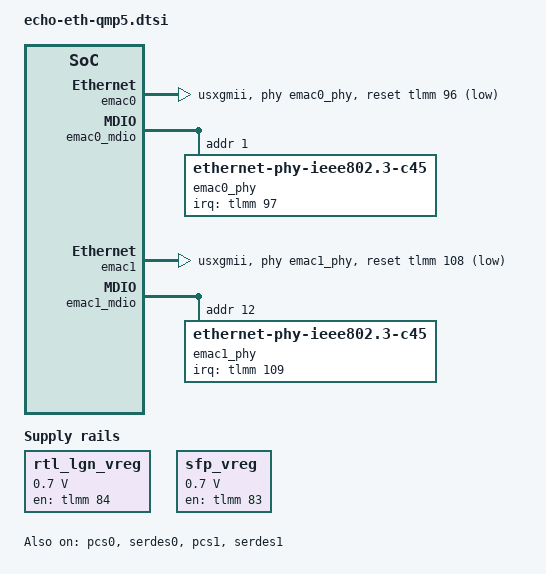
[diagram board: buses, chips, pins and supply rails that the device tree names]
// SPDX-License-Identifier: BSD-3-Clause
/*
 * Copyright (c) Qualcomm Technologies, Inc. and/or its subsidiaries.
 */

&soc {
	rtl_lgn_vreg: rtl_lgn_vreg {
		compatible = "regulator-fixed";
		regulator-name = "rtl_lgn_vreg";
		gpio = <&tlmm 84 GPIO_ACTIVE_HIGH>;
		regulator-min-microvolt = <700000>;
		regulator-max-microvolt = <700000>;
		enable-active-high;
		regulator-enable-ramp-delay = <100000>;
	};

	sfp_vreg: sfp_vreg {
		compatible = "regulator-fixed";
		regulator-name = "sfp_vreg";
		gpio = <&tlmm 83 GPIO_ACTIVE_HIGH>;
		regulator-min-microvolt = <700000>;
		regulator-max-microvolt = <700000>;
		enable-active-high;
		regulator-enable-ramp-delay = <100000>;
	};
};

&emac2_phy_reset_state_active {
	mux {
		pins = "gpio117";
	};

	config {
		pins = "gpio117";
	};
};

&emac2_phy_reset_state_inactive {
	mux {
		pins = "gpio117";
	};

	config {
		pins = "gpio117";
	};
};

&emac0 {
	status = "okay";
	phy-handle = <&emac0_phy>;
	phy-mode = "usxgmii";
	managed = "auto";
	snps,reset-active-low;
	snps,reset-gpio = <&tlmm 96 GPIO_ACTIVE_LOW>;
	snps,reset-delays-us = <1000 100000 221000>;
	vreg_emac_phy-supply = <&rtl_lgn_vreg>;
};

&emac0_mdio {
	emac0_phy: emac0_phy {
		compatible = "ethernet-phy-ieee802.3-c45";
		reg = <0x1>;
		device_type = "ethernet-phy";
		interrupts-extended = <&tlmm 97 IRQ_TYPE_EDGE_FALLING>;
	};
};

&pcs0 {
	status = "okay";
};

&serdes0 {
	status = "okay";
};

&emac1 {
	status = "okay";
	phy-handle = <&emac1_phy>;
	phy-mode = "usxgmii";
	managed = "auto";
	snps,reset-active-low;
	snps,reset-gpio = <&tlmm 108 GPIO_ACTIVE_LOW>;
	snps,reset-delays-us = <1000 100000 221000>;
	vreg_emac_phy-supply = <&rtl_lgn_vreg>;
};

&emac1_mdio {
	emac1_phy: emac1_phy {
		compatible = "ethernet-phy-ieee802.3-c45";
		reg = <0xc>;
		device_type = "ethernet-phy";
		interrupts-extended = <&tlmm 109 IRQ_TYPE_EDGE_FALLING>;
	};
};

&pcs1 {
	status = "okay";
};

&serdes1 {
	status = "okay";
};

&emac2 {
	vreg_emac_phy-supply = <&sfp_vreg>;
};
